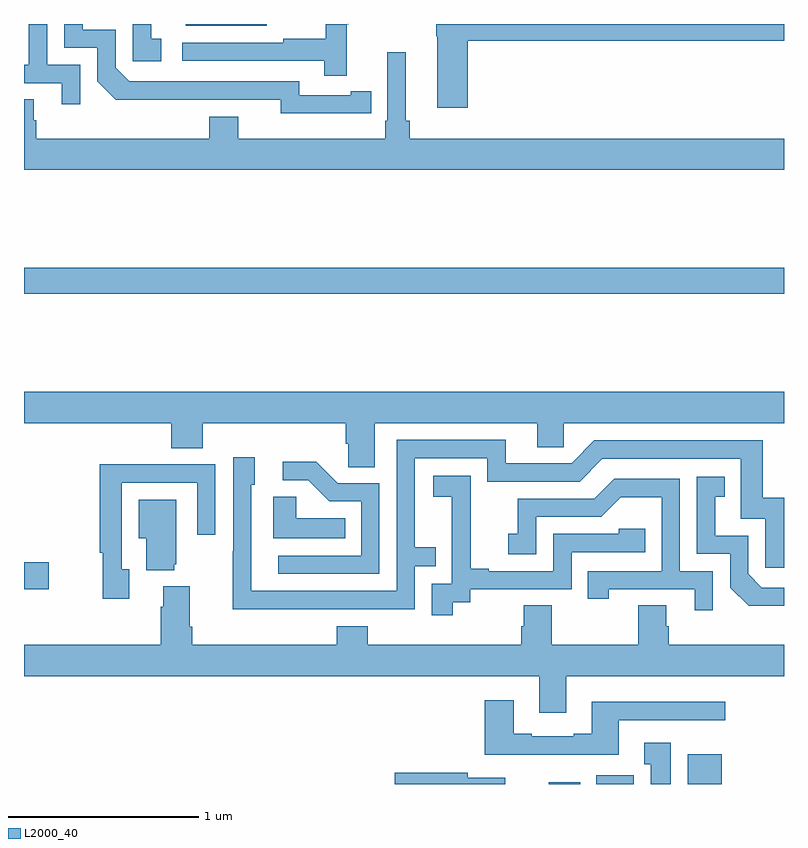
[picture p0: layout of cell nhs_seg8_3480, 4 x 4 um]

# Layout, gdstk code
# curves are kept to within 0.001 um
import gdstk
lib = gdstk.Library(unit=1e-6, precision=1e-09)
def R(c, l, rs):  # rectangles x0, y0, x1, y1
    for r in rs: c.add(gdstk.rectangle(r[:2], r[2:], *l))
def P(c, l, *ps):  # polygons
    for p in ps: c.add(gdstk.Polygon(p, *l))
L2000_40 = (2000, 40)

nhs_seg8_3480 = lib.new_cell('nhs_seg8_3480')
R(nhs_seg8_3480, L2000_40, [(327.761,1147.9,327.928,1147.909), (328.013,1147.9,328.209,1147.945), (328.493,1147.9,328.672,1148.056), (325,1148.926,325.129,1149.068), (325,1150.48,329,1150.616), (325.85,1151.891,326.278,1151.9)])
P(nhs_seg8_3480, L2000_40, [(326.72,1151.43),(326.828,1151.43),(326.828,1151.546),(326.72,1151.546),(326.72,1151.526),(326.448,1151.526),(326.448,1151.598),(325.554,1151.598),(325.482,1151.67),(325.482,1151.871),(325.309,1151.871),(325.309,1151.9),(325.212,1151.9),(325.212,1151.775),(325.386,1151.775),(325.386,1151.598),(325.484,1151.501),(326.352,1151.502),(326.352,1151.429)],
  [(327.335,1151.812),(329,1151.812),(329,1151.9),(327.169,1151.9),(327.169,1151.835),(327.176,1151.835),(327.176,1151.46),(327.335,1151.46)],
  [(325.723,1151.823),(325.67,1151.823),(325.67,1151.9),(325.572,1151.9),(325.572,1151.703),(325.723,1151.703)],
  [(326.699,1151.899),(326.71,1151.899),(326.71,1151.9),(326.589,1151.9),(326.589,1151.822),(326.365,1151.822),(326.365,1151.802),(325.833,1151.802),(325.833,1151.706),(326.581,1151.706),(326.581,1151.628),(326.699,1151.628)],
  [(325.296,1151.685),(325.122,1151.685),(325.122,1151.9),(325.026,1151.9),(325.026,1151.685),(325,1151.685),(325,1151.589),(325.199,1151.589),(325.199,1151.478),(325.296,1151.478)],
  [(329,1151.296),(327.029,1151.296),(327.029,1151.392),(327.01,1151.392),(327.01,1151.752),(326.913,1151.752),(326.913,1151.392),(326.9,1151.392),(326.9,1151.296),(326.128,1151.296),(326.128,1151.413),(325.976,1151.413),(325.976,1151.296),(325.064,1151.296),(325.064,1151.394),(325.051,1151.394),(325.051,1151.504),(325,1151.504),(325,1151.132),(329,1151.132)],
  [(326.845,1149.8),(327.701,1149.8),(327.701,1149.673),(327.84,1149.673),(327.84,1149.8),(329,1149.8),(329,1149.964),(325,1149.964),(325,1149.8),(325.775,1149.8),(325.775,1149.667),(325.94,1149.667),(325.94,1149.8),(326.693,1149.8),(326.693,1149.691),(326.706,1149.691),(326.706,1149.568),(326.845,1149.568)],
  [(326.561,1148.82),(327.057,1148.82),(327.057,1149.045),(327.167,1149.045),(327.167,1149.146),(327.057,1149.146),(327.057,1149.615),(327.438,1149.615),(327.438,1149.492),(327.924,1149.492),(328.044,1149.612),(328.773,1149.612),(328.773,1149.297),(328.902,1149.297),(328.902,1149.039),(329,1149.039),(329,1149.406),(328.889,1149.406),(328.889,1149.708),(328.002,1149.708),(327.882,1149.588),(327.535,1149.588),(327.535,1149.711),(326.961,1149.711),(326.961,1148.916),(326.196,1148.916),(326.196,1149.474),(326.215,1149.474),(326.215,1149.619),(326.1,1149.619),(326.1,1149.125),(326.098,1149.125),(326.098,1148.819)],
  [(326.871,1149.483),(326.652,1149.483),(326.539,1149.596),(326.361,1149.596),(326.361,1149.498),(326.495,1149.498),(326.606,1149.387),(326.775,1149.387),(326.775,1149.102),(326.337,1149.102),(326.337,1149.006),(326.871,1149.006)],
  [(325.555,1149.03),(325.515,1149.03),(325.515,1149.486),(325.911,1149.486),(325.911,1149.213),(326.007,1149.213),(326.007,1149.582),(325.691,1149.582),(325.691,1149.584),(325.399,1149.584),(325.399,1149.118),(325.414,1149.118),(325.414,1148.874),(325.555,1148.874)],
  [(327.256,1148.857),(327.348,1148.857),(327.348,1148.925),(327.882,1148.925),(327.882,1149.12),(328.271,1149.12),(328.271,1149.243),(328.131,1149.243),(328.131,1149.216),(327.786,1149.216),(327.786,1149.021),(327.445,1149.021),(327.445,1149.034),(327.35,1149.034),(327.35,1149.317),(327.351,1149.317),(327.351,1149.523),(327.153,1149.523),(327.153,1149.413),(327.251,1149.413),(327.251,1149.185),(327.252,1149.185),(327.252,1148.955),(327.147,1148.955),(327.147,1148.787),(327.256,1148.787)],
  [(329,1148.934),(328.884,1148.934),(328.812,1149.006),(328.812,1149.207),(328.639,1149.207),(328.639,1149.411),(328.688,1149.411),(328.688,1149.517),(328.542,1149.517),(328.542,1149.111),(328.716,1149.111),(328.716,1148.934),(328.814,1148.837),(329,1148.837)],
  [(328.626,1149.021),(328.452,1149.021),(328.452,1149.507),(328.106,1149.507),(328.001,1149.402),(327.598,1149.402),(327.598,1149.217),(327.549,1149.217),(327.549,1149.108),(327.696,1149.108),(327.696,1149.306),(328.038,1149.306),(328.142,1149.41),(328.356,1149.41),(328.356,1149.021),(327.967,1149.021),(327.967,1148.874),(328.078,1148.874),(328.078,1148.925),(328.529,1148.925),(328.529,1148.814),(328.626,1148.814)],
  [(326.69,1149.298),(326.433,1149.298),(326.433,1149.413),(326.312,1149.413),(326.312,1149.194),(326.69,1149.194)],
  [(325.79,1149.057),(325.801,1149.057),(325.801,1149.397),(325.604,1149.397),(325.604,1149.194),(325.643,1149.194),(325.643,1149.026),(325.79,1149.026)],
  [(327.853,1148.468),(329,1148.468),(329,1148.632),(328.394,1148.632),(328.394,1148.73),(328.381,1148.73),(328.381,1148.84),(328.234,1148.84),(328.234,1148.632),(327.777,1148.632),(327.777,1148.84),(327.629,1148.84),(327.629,1148.73),(327.617,1148.73),(327.617,1148.632),(326.81,1148.632),(326.81,1148.731),(326.645,1148.731),(326.645,1148.632),(325.886,1148.632),(325.886,1148.728),(325.873,1148.728),(325.873,1148.941),(325.733,1148.941),(325.733,1148.834),(325.721,1148.834),(325.721,1148.632),(325,1148.632),(325,1148.468),(327.713,1148.468),(327.713,1148.274),(327.853,1148.274)],
  [(328.129,1148.235),(328.69,1148.235),(328.69,1148.332),(327.989,1148.332),(327.989,1148.164),(327.893,1148.164),(327.893,1148.151),(327.673,1148.151),(327.673,1148.164),(327.577,1148.164),(327.577,1148.341),(327.425,1148.341),(327.425,1148.054),(328.129,1148.054)],
  [(328.405,1148.116),(328.265,1148.116),(328.265,1148.003),(328.298,1148.003),(328.298,1147.9),(328.405,1147.9)],
  [(327.532,1147.933),(327.336,1147.933),(327.336,1147.958),(326.952,1147.958),(326.952,1147.9),(327.532,1147.9)])

lib.write_gds('nhs_seg8_3480.gds')
